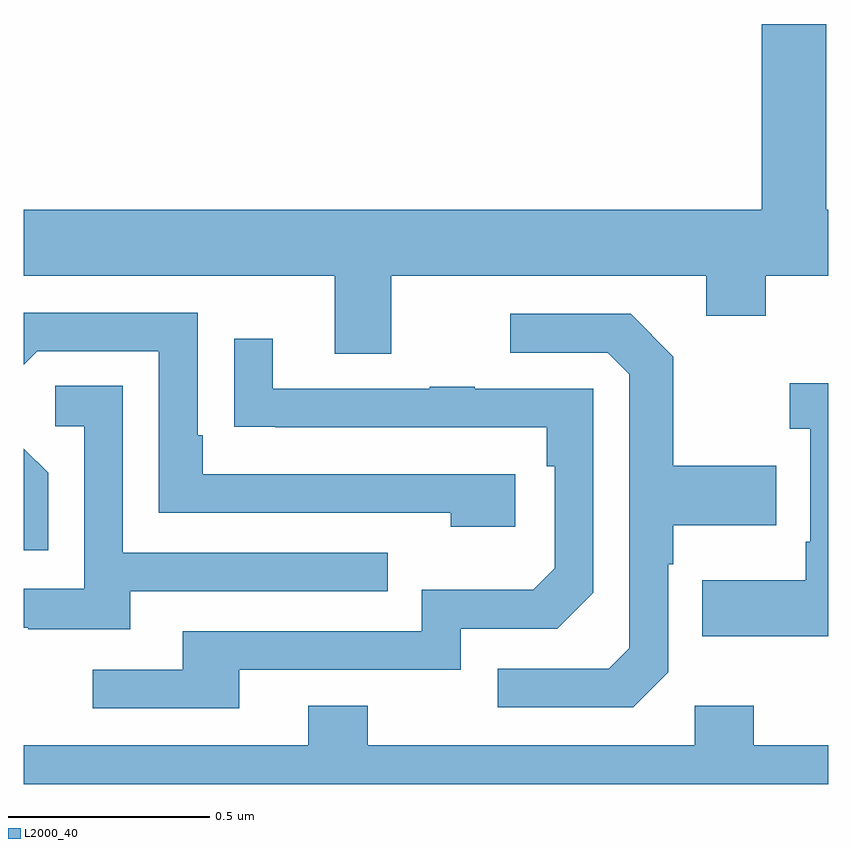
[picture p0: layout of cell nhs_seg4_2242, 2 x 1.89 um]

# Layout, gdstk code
import gdstk
lib = gdstk.Library(unit=1e-6, precision=1e-09)
def P(c, l, *ps):  # polygons
    for p in ps: c.add(gdstk.Polygon(p, *l))
L2000_40 = (2000, 40)

nhs_seg4_2242 = lib.new_cell('nhs_seg4_2242')
P(nhs_seg4_2242, L2000_40, [(139.845,786.164),(140,786.164),(140,786.328),(139.995,786.328),(139.995,786.79),(139.835,786.79),(139.835,786.328),(138,786.328),(138,786.164),(138.773,786.164),(138.773,785.97),(138.913,785.97),(138.913,786.164),(139.697,786.164),(139.697,786.065),(139.845,786.065)],
  [(139.222,785.67),(138.445,785.67),(138.445,785.767),(138.432,785.767),(138.432,786.072),(138,786.072),(138,785.943),(138.033,785.976),(138.336,785.976),(138.336,785.574),(139.061,785.574),(139.061,785.54),(139.222,785.54)],
  [(139.602,785.178),(139.602,785.447),(139.615,785.447),(139.615,785.543),(139.871,785.543),(139.871,785.691),(139.615,785.691),(139.615,785.963),(139.509,786.069),(139.209,786.069),(139.209,785.973),(139.452,785.973),(139.506,785.919),(139.506,785.238),(139.455,785.187),(139.179,785.187),(139.179,785.091),(139.515,785.091)],
  [(138.535,785.184),(139.086,785.184),(139.086,785.286),(139.326,785.286),(139.416,785.376),(139.416,785.883),(139.121,785.883),(139.121,785.888),(139.009,785.888),(139.009,785.883),(138.619,785.883),(138.619,786.007),(138.523,786.007),(138.523,785.788),(138.625,785.788),(138.625,785.787),(139.3,785.787),(139.3,785.69),(139.32,785.69),(139.32,785.436),(139.267,785.383),(138.99,785.383),(138.99,785.28),(138.395,785.28),(138.395,785.184),(138.171,785.184),(138.171,785.088),(138.535,785.088)],
  [(140,785.896),(139.905,785.896),(139.905,785.783),(139.956,785.783),(139.956,785.503),(139.944,785.503),(139.944,785.407),(139.687,785.407),(139.687,785.267),(140,785.267)],
  [(138.265,785.379),(138.905,785.379),(138.905,785.475),(138.246,785.475),(138.246,785.891),(138.078,785.891),(138.078,785.79),(138.15,785.79),(138.15,785.385),(138,785.385),(138,785.289),(138.011,785.289),(138.011,785.285),(138.265,785.285)],
  [(138.06,785.674),(138,785.734),(138,785.481),(138.06,785.481)],
  [(140,784.996),(139.815,784.996),(139.815,785.095),(139.668,785.095),(139.668,784.996),(138.855,784.996),(138.855,785.095),(138.707,785.095),(138.707,784.996),(138,784.996),(138,784.9),(140,784.9)])

lib.write_gds('nhs_seg4_2242.gds')
